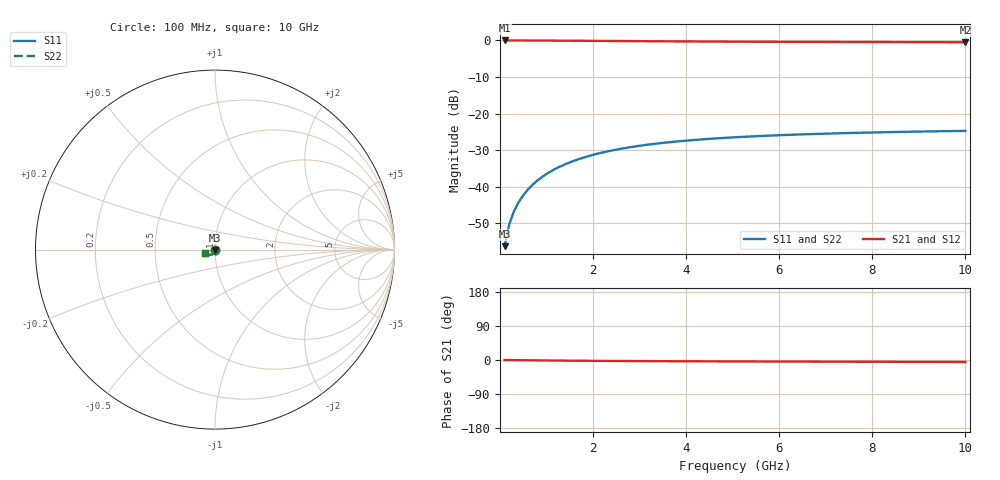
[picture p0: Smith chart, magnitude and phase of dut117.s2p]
! Touchstone file exported from HFSS 2024.1.0
!  File:  C:/UserFiles/LocalFiles/RDL_TSV_Batchsim/temp_TSV1_117_1778765200.aedt
!  Generated:  09:34:52 PM May 14, 2026
!  Design:  TSV1
!  Project:  temp_TSV1_117_1778765200
!  Setup:  Setup1
!  Solution:  Sweep
! Variables:
!  dtsv = 11.96um
!  hbump = 3um
!  htsv = 81.14um
!  lrdl = 252.1521522um
!  p = 40
!  p1 = 43.57um
!  t = 500um
!  trdl = 3um
!  wrdl = 24.89489489um
# GHz S MA R 50.000000
! Terminal data exported
! Port[1] = TSV22_T1
! Port[2] = TSV22_T2
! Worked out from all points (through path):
!   100 points, 100 MHz to 10 GHz, reference 50 ohm
!   highest |S21| = 0.00 dB at 100 MHz (marker M1); lowest = -0.5 dB at 10 GHz (marker M2)
!   lowest |S11| = -56.3 dB at 100 MHz (marker M3), VSWR 1.00, Z = 50 - j0.153 ohm
!   |S11| at or under -10 dB: start of sweep to end of sweep
!   |S22| runs from -56.3 to -24.7 dB; largest |S21 - S12| = 4.3e-15
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0.1  0.001531 -87.6  0.9998 -0.1  0.9998 -0.1  0.001531 -87.6
! Gamma 0 0 0 0
! Port Impedance 50 0 50 0
0.2  0.003058 -90.9  0.9997 -0.3  0.9997 -0.3  0.003058 -90.9
0.3  0.004585 -93.0  0.9995 -0.4  0.9995 -0.4  0.004585 -93.0
0.4  0.006108 -94.8  0.9992 -0.5  0.9992 -0.5  0.006108 -94.8
0.5  0.007621 -96.5  0.9988 -0.6  0.9988 -0.6  0.007621 -96.5
0.6  0.009119 -98.2  0.9984 -0.8  0.9984 -0.8  0.009119 -98.2
0.7  0.0106 -99.8  0.9978 -0.9  0.9978 -0.9  0.0106 -99.8
0.8  0.01206 -101.3  0.9973 -1.0  0.9973 -1.0  0.01206 -101.3
0.9  0.01349 -102.9  0.9966 -1.1  0.9966 -1.1  0.01349 -102.9
1.1  0.01628 -105.8  0.9952 -1.3  0.9952 -1.3  0.01628 -105.8
1.4  0.02022 -110.1  0.9928 -1.7  0.9928 -1.7  0.02022 -110.1
1.6  0.02269 -112.7  0.991 -1.9  0.991 -1.9  0.02269 -112.7
1.8  0.02501 -115.3  0.9891 -2.0  0.9891 -2.0  0.02501 -115.3
2.1  0.02824 -118.9  0.9862 -2.3  0.9862 -2.3  0.02824 -118.9
2.5  0.03208 -123.2  0.9824 -2.6  0.9824 -2.6  0.03208 -123.2
2.9  0.03542 -127.2  0.9786 -2.8  0.9786 -2.8  0.03542 -127.2
3.4  0.039 -131.6  0.9742 -3.1  0.9742 -3.1  0.039 -131.6
4.2  0.04358 -137.5  0.968 -3.4  0.968 -3.4  0.04358 -137.5
5.1  0.04749 -142.9  0.9623 -3.8  0.9623 -3.8  0.04749 -142.9
6.7  0.05235 -150.4  0.9547 -4.3  0.9547 -4.3  0.05235 -150.4
8.4  0.05571 -156.3  0.949 -4.8  0.949 -4.8  0.05571 -156.3
10  0.05789 -160.6  0.9453 -5.2  0.9453 -5.2  0.05789 -160.6
